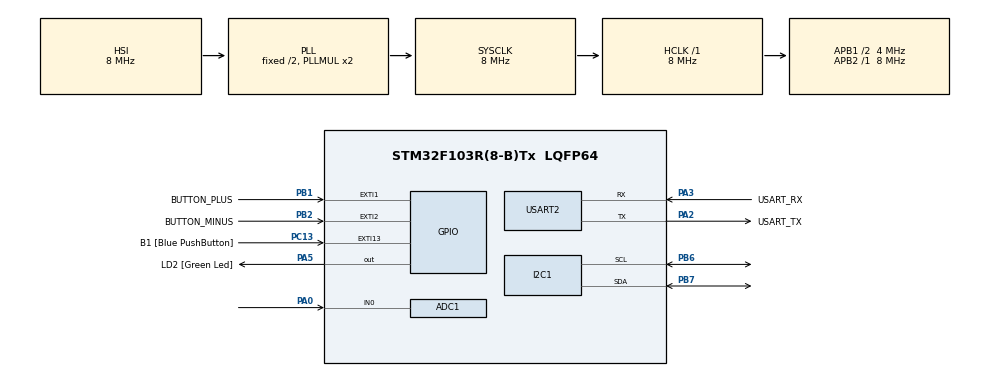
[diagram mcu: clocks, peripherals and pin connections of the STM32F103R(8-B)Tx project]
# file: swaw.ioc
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ADC1.Channel-0\#ChannelRegularConversion=ADC_CHANNEL_0
ADC1.ContinuousConvMode=ENABLE
ADC1.NbrOfConversionFlag=1
ADC1.Rank-0\#ChannelRegularConversion=1
ADC1.SamplingTime-0\#ChannelRegularConversion=ADC_SAMPLETIME_1CYCLE_5
ADC1.master=1
Mcu.Family=STM32F1
Mcu.Name=STM32F103R(8-B)Tx
Mcu.Package=LQFP64
NVIC.EXTI15_10_IRQn=true\:0\:0\:false\:false\:true\:true\:true\:true
NVIC.EXTI1_IRQn=true\:0\:0\:false\:false\:true\:true\:true\:true
NVIC.EXTI2_IRQn=true\:0\:0\:false\:false\:true\:true\:true\:true
NVIC.PriorityGroup=NVIC_PRIORITYGROUP_4
NVIC.TIM1_BRK_IRQn=true\:0\:0\:false\:false\:true\:true\:true\:true
NVIC.TIM1_CC_IRQn=true\:0\:0\:false\:false\:true\:true\:true\:true
NVIC.TIM1_TRG_COM_IRQn=true\:0\:0\:false\:false\:true\:true\:true\:true
NVIC.TIM1_UP_IRQn=true\:0\:0\:false\:false\:true\:true\:true\:true
PA0-WKUP.Signal=ADCx_IN0
PA13.GPIO_Label=TMS
PA13.Mode=Serial_Wire
PA13.Signal=SYS_JTMS-SWDIO
PA14.GPIO_Label=TCK
PA14.Mode=Serial_Wire
PA14.Signal=SYS_JTCK-SWCLK
PA2.GPIO_Label=USART_TX
PA2.GPIO_Mode=GPIO_MODE_AF_PP
PA2.GPIO_PuPd=GPIO_NOPULL
PA2.GPIO_Speed=GPIO_SPEED_FREQ_LOW
PA2.Mode=Asynchronous
PA2.Signal=USART2_TX
PA3.GPIO_Label=USART_RX
PA3.GPIO_Mode=GPIO_MODE_AF_PP
PA3.GPIO_PuPd=GPIO_NOPULL
PA3.GPIO_Speed=GPIO_SPEED_FREQ_LOW
PA3.Mode=Asynchronous
PA3.Signal=USART2_RX
PA5.GPIO_Label=LD2 [Green Led]
PA5.GPIO_ModeDefaultOutputPP=GPIO_MODE_OUTPUT_PP
PA5.GPIO_PuPd=GPIO_NOPULL
PA5.GPIO_Speed=GPIO_SPEED_FREQ_LOW
PA5.Signal=GPIO_Output
PB1.GPIO_Label=BUTTON_PLUS
PB1.Signal=GPXTI1
PB2.GPIO_Label=BUTTON_MINUS
PB2.Signal=GPXTI2
PB3.GPIO_Label=SWO
PB3.Signal=SYS_JTDO-TRACESWO
PB6.Mode=I2C
PB6.Signal=I2C1_SCL
PB7.Mode=I2C
PB7.Signal=I2C1_SDA
PC13-TAMPER-RTC.GPIO_Label=B1 [Blue PushButton]
PC13-TAMPER-RTC.GPIO_PuPd=GPIO_NOPULL
PC13-TAMPER-RTC.Signal=GPXTI13
PC14-OSC32_IN.Mode=LSE-External-Oscillator
PC14-OSC32_IN.Signal=RCC_OSC32_IN
PC15-OSC32_OUT.Mode=LSE-External-Oscillator
PC15-OSC32_OUT.Signal=RCC_OSC32_OUT
PD0-OSC_IN.Mode=HSE-External-Clock-Source
PD0-OSC_IN.Signal=RCC_OSC_IN
PD1-OSC_OUT.Mode=HSE-External-Clock-Source
PD1-OSC_OUT.Signal=RCC_OSC_OUT
ProjectManager.HeapSize=0x200
ProjectManager.StackSize=0x400
ProjectManager.TargetToolchain=STM32CubeIDE
RCC.AHBFreq_Value=8000000
RCC.APB1CLKDivider=RCC_HCLK_DIV2
RCC.APB1Freq_Value=4000000
RCC.APB1TimFreq_Value=8000000
RCC.APB2Freq_Value=8000000
RCC.APB2TimFreq_Value=8000000
RCC.HCLKFreq_Value=8000000
RCC.RTCClockSelection=RCC_RTCCLKSOURCE_LSE
RCC.SYSCLKFreq_VALUE=8000000
RCC.SYSCLKSource=RCC_SYSCLKSOURCE_PLLCLK
RCC.USBFreq_Value=8000000
SH.ADCx_IN0.0=ADC1_IN0,IN0
TIM1.Period=100-1
TIM1.Prescaler=80-1
USART2.VirtualMode=VM_ASYNC
VP_TIM1_VS_ClockSourceINT.Mode=Internal
board=NUCLEO-F103RB

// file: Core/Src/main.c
/* USER CODE BEGIN Header */
/**
  ******************************************************************************
  * @file           : main.c
  * @brief          : Main program body
  ******************************************************************************
  * @attention
  *
  * Copyright (c) 2023 STMicroelectronics.
  * All rights reserved.
  *
  * This software is licensed under terms that can be found in the LICENSE file
  * in the root directory of this software component.
  * If no LICENSE file comes with this software, it is provided AS-IS.
  *
  ******************************************************************************
  */
/* USER CODE END Header */
#include "main.h"
#include "adc.h"
#include "i2c.h"
#include "tim.h"
#include "usart.h"
#include "gpio.h"

/* USER CODE BEGIN Includes */
#include "ssd1306_tests.h"
#include "bsp.h"
/* USER CODE END Includes */

void SystemClock_Config(void);

int main(void)
{

  /* MCU Configuration--------------------------------------------------------*/

  /* Reset of all peripherals, Initializes the Flash interface and the Systick. */
  HAL_Init();

  /* Configure the system clock */
  SystemClock_Config();

  /* Initialize all configured peripherals */
  MX_GPIO_Init();
  MX_USART2_UART_Init();
  MX_I2C1_Init();
  MX_ADC1_Init();
  MX_TIM1_Init();
  /* USER CODE BEGIN 2 */
init();

int hall, prev_hall = 0;
int periods = 0;
int able_to_detect = 1;
float velocity = 0.0;

  //ssd1306_TestAll();
  /* USER CODE END 2 */

  /* Infinite loop */
  /* USER CODE BEGIN WHILE */
  while (1)
  {
	  if (tim_get_status() == 1) {
			  prev_hall = hall;
			  hall = read_hall();
			  if(able_to_detect){
				  if(detection_moment(hall,prev_hall)){
					  velocity =calculate_velocity(periods,get_radius());
					  display(velocity);
					  periods = 0;
				  }else{
					  periods++;
				  }
//				  display(velocity);
			  };
			  if(1 == get_radius_status()){
				 display(velocity);
				 clear_radius_status();
			  }
			  able_to_detect = detection_able_reset(hall,able_to_detect);
			  tim_clear_status();
		  }
    /* USER CODE END WHILE */

  }
}

void SystemClock_Config(void)
{
  RCC_OscInitTypeDef RCC_OscInitStruct = {0};
  RCC_ClkInitTypeDef RCC_ClkInitStruct = {0};
  RCC_PeriphCLKInitTypeDef PeriphClkInit = {0};

  /** Initializes the RCC Oscillators according to the specified parameters
  * in the RCC_OscInitTypeDef structure.
  */
  RCC_OscInitStruct.OscillatorType = RCC_OSCILLATORTYPE_HSI;
  RCC_OscInitStruct.HSIState = RCC_HSI_ON;
  RCC_OscInitStruct.HSICalibrationValue = RCC_HSICALIBRATION_DEFAULT;
  RCC_OscInitStruct.PLL.PLLState = RCC_PLL_ON;
  RCC_OscInitStruct.PLL.PLLSource = RCC_PLLSOURCE_HSI_DIV2;
  RCC_OscInitStruct.PLL.PLLMUL = RCC_PLL_MUL2;
  if (HAL_RCC_OscConfig(&RCC_OscInitStruct) != HAL_OK)
  {
    Error_Handler();
  }

  /** Initializes the CPU, AHB and APB buses clocks
  */
  RCC_ClkInitStruct.ClockType = RCC_CLOCKTYPE_HCLK|RCC_CLOCKTYPE_SYSCLK
                              |RCC_CLOCKTYPE_PCLK1|RCC_CLOCKTYPE_PCLK2;
  RCC_ClkInitStruct.SYSCLKSource = RCC_SYSCLKSOURCE_PLLCLK;
  RCC_ClkInitStruct.AHBCLKDivider = RCC_SYSCLK_DIV1;
  RCC_ClkInitStruct.APB1CLKDivider = RCC_HCLK_DIV2;
  RCC_ClkInitStruct.APB2CLKDivider = RCC_HCLK_DIV1;

  if (HAL_RCC_ClockConfig(&RCC_ClkInitStruct, FLASH_LATENCY_0) != HAL_OK)
  {
    Error_Handler();
  }
  PeriphClkInit.PeriphClockSelection = RCC_PERIPHCLK_ADC;
  PeriphClkInit.AdcClockSelection = RCC_ADCPCLK2_DIV2;
  if (HAL_RCCEx_PeriphCLKConfig(&PeriphClkInit) != HAL_OK)
  {
    Error_Handler();
  }
}

void Error_Handler(void)
{
  __disable_irq();
  while (1)
  {
  }
}
